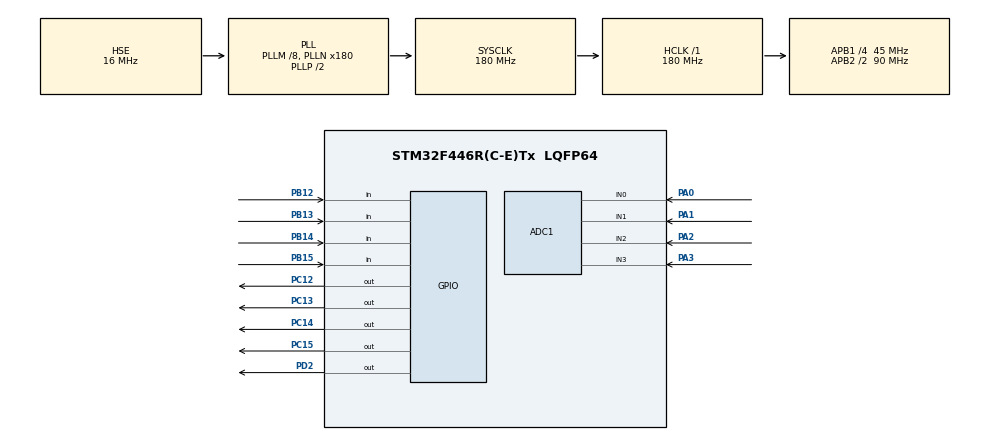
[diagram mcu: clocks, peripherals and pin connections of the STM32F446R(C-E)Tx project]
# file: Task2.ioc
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ADC1.Channel-1\#ChannelRegularConversion=ADC_CHANNEL_0
ADC1.Channel-2\#ChannelRegularConversion=ADC_CHANNEL_1
ADC1.Channel-3\#ChannelRegularConversion=ADC_CHANNEL_2
ADC1.Channel-4\#ChannelRegularConversion=ADC_CHANNEL_3
ADC1.DMAContinuousRequests=ENABLE
ADC1.NbrOfConversion=4
ADC1.NbrOfConversionFlag=1
ADC1.Rank-1\#ChannelRegularConversion=1
ADC1.Rank-2\#ChannelRegularConversion=2
ADC1.Rank-3\#ChannelRegularConversion=3
ADC1.Rank-4\#ChannelRegularConversion=4
ADC1.SamplingTime-1\#ChannelRegularConversion=ADC_SAMPLETIME_15CYCLES
ADC1.SamplingTime-2\#ChannelRegularConversion=ADC_SAMPLETIME_15CYCLES
ADC1.SamplingTime-3\#ChannelRegularConversion=ADC_SAMPLETIME_15CYCLES
ADC1.SamplingTime-4\#ChannelRegularConversion=ADC_SAMPLETIME_15CYCLES
ADC1.ScanConvMode=ENABLE
ADC1.master=1
Dma.ADC1.0.Direction=DMA_PERIPH_TO_MEMORY
Dma.ADC1.0.FIFOMode=DMA_FIFOMODE_DISABLE
Dma.ADC1.0.Instance=DMA2_Stream0
Dma.ADC1.0.MemDataAlignment=DMA_MDATAALIGN_WORD
Dma.ADC1.0.MemInc=DMA_MINC_ENABLE
Dma.ADC1.0.Mode=DMA_CIRCULAR
Dma.ADC1.0.PeriphDataAlignment=DMA_PDATAALIGN_WORD
Dma.ADC1.0.PeriphInc=DMA_PINC_DISABLE
Dma.ADC1.0.Priority=DMA_PRIORITY_LOW
Dma.Request0=ADC1
Mcu.Family=STM32F4
Mcu.Name=STM32F446R(C-E)Tx
Mcu.Package=LQFP64
NVIC.ADC_IRQn=true\:0\:0\:false\:false\:true\:true\:true\:true
NVIC.DMA2_Stream0_IRQn=true\:0\:0\:false\:false\:true\:false\:true\:true
NVIC.PriorityGroup=NVIC_PRIORITYGROUP_4
NVIC.TIM6_DAC_IRQn=true\:0\:0\:false\:false\:true\:true\:true\:true
NVIC.TIM8_UP_TIM13_IRQn=true\:0\:0\:false\:false\:true\:true\:true\:true
PA0-WKUP.Signal=ADCx_IN0
PA1.Signal=ADCx_IN1
PA13.Mode=Serial_Wire
PA13.Signal=SYS_JTMS-SWDIO
PA14.Mode=Serial_Wire
PA14.Signal=SYS_JTCK-SWCLK
PA2.Signal=ADCx_IN2
PA3.Signal=ADCx_IN3
PB12.Signal=GPIO_Input
PB13.Signal=GPIO_Input
PB14.Signal=GPIO_Input
PB15.Signal=GPIO_Input
PC12.Signal=GPIO_Output
PC13.Signal=GPIO_Output
PC14-OSC32_IN.Signal=GPIO_Output
PC15-OSC32_OUT.Signal=GPIO_Output
PD2.Signal=GPIO_Output
PH0-OSC_IN.Mode=HSE-External-Oscillator
PH0-OSC_IN.Signal=RCC_OSC_IN
PH1-OSC_OUT.Mode=HSE-External-Oscillator
PH1-OSC_OUT.Signal=RCC_OSC_OUT
ProjectManager.HeapSize=0x200
ProjectManager.StackSize=0x400
ProjectManager.TargetToolchain=STM32CubeIDE
RCC.AHBFreq_Value=180000000
RCC.APB1CLKDivider=RCC_HCLK_DIV4
RCC.APB1Freq_Value=45000000
RCC.APB1TimFreq_Value=90000000
RCC.APB2CLKDivider=RCC_HCLK_DIV2
RCC.APB2Freq_Value=90000000
RCC.APB2TimFreq_Value=180000000
RCC.CortexFreq_Value=180000000
RCC.HCLKFreq_Value=180000000
RCC.HSE_VALUE=16000000
RCC.PLLM=8
RCC.PLLN=180
RCC.PLLSourceVirtual=RCC_PLLSOURCE_HSE
RCC.SYSCLKFreq_VALUE=180000000
RCC.SYSCLKSource=RCC_SYSCLKSOURCE_PLLCLK
RCC.USBFreq_Value=180000000
RCC.VCOOutputFreq_Value=360000000
SH.ADCx_IN0.0=ADC1_IN0,IN0
SH.ADCx_IN1.0=ADC1_IN1,IN1
SH.ADCx_IN2.0=ADC1_IN2,IN2
SH.ADCx_IN3.0=ADC1_IN3,IN3
TIM6.Period=100-1
TIM6.Prescaler=90-1
TIM8.Period=10000-1
TIM8.Prescaler=180-1
TIM8.TIM_MasterOutputTrigger=TIM_TRGO_UPDATE
VP_TIM6_VS_ClockSourceINT.Mode=Enable_Timer
VP_TIM8_VS_ClockSourceINT.Mode=Internal
board=custom

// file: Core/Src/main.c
/* USER CODE BEGIN Header */
/**
  ******************************************************************************
  * @file           : main.c
  * @brief          : Main program body
  ******************************************************************************
  * @attention
  *
  * Copyright (c) 2024 STMicroelectronics.
  * All rights reserved.
  *
  * This software is licensed under terms that can be found in the LICENSE file
  * in the root directory of this software component.
  * If no LICENSE file comes with this software, it is provided AS-IS.
  *
  ******************************************************************************
  */
/* USER CODE END Header */
#include "main.h"
#include "adc.h"
#include "dma.h"
#include "tim.h"
#include "gpio.h"

void SystemClock_Config(void);

int main(void)
{

  /* MCU Configuration--------------------------------------------------------*/

  /* Reset of all peripherals, Initializes the Flash interface and the Systick. */
  HAL_Init();

  /* Configure the system clock */
  SystemClock_Config();

  /* Initialize all configured peripherals */
  MX_GPIO_Init();
  MX_DMA_Init();
  MX_TIM8_Init();
  MX_ADC1_Init();
  MX_TIM6_Init();
  /* USER CODE BEGIN 2 */

  /* Turn Off All of LED*/
  HAL_GPIO_WritePin(GPIOC, GPIO_PIN_12, 1);
  HAL_GPIO_WritePin(GPIOC, GPIO_PIN_13, 1);
  HAL_GPIO_WritePin(GPIOC, GPIO_PIN_14, 1);
  HAL_GPIO_WritePin(GPIOC, GPIO_PIN_15, 1);

  /* USER CODE END 2 */

  /* Infinite loop */
  while (1)
  {

    /* USER CODE BEGIN 3 */
	  /* Turn On LED */
	  if(!(HAL_GPIO_ReadPin(GPIOB, GPIO_PIN_12))){
		  HAL_GPIO_WritePin(GPIOC, GPIO_PIN_12, 0);
	  }else{
		  HAL_GPIO_WritePin(GPIOC, GPIO_PIN_12, 1);
	  }

	  if(!(HAL_GPIO_ReadPin(GPIOB, GPIO_PIN_13))){
		  HAL_GPIO_WritePin(GPIOC, GPIO_PIN_13, 0);
	  }else{
		  HAL_GPIO_WritePin(GPIOC, GPIO_PIN_13, 1);
	  }

	  if(!(HAL_GPIO_ReadPin(GPIOB, GPIO_PIN_14))){
		  HAL_GPIO_WritePin(GPIOC, GPIO_PIN_14, 0);
	  }else{
		  HAL_GPIO_WritePin(GPIOC, GPIO_PIN_14, 1);
	  }

	  if(!(HAL_GPIO_ReadPin(GPIOB, GPIO_PIN_15))){
		  HAL_GPIO_WritePin(GPIOC, GPIO_PIN_15, 0);
	  }else{
		  HAL_GPIO_WritePin(GPIOC, GPIO_PIN_15, 1);
	  }

  }
  /* USER CODE END 3 */
}

void SystemClock_Config(void)
{
  RCC_OscInitTypeDef RCC_OscInitStruct = {0};
  RCC_ClkInitTypeDef RCC_ClkInitStruct = {0};

  /** Configure the main internal regulator output voltage
  */
  __HAL_RCC_PWR_CLK_ENABLE();
  __HAL_PWR_VOLTAGESCALING_CONFIG(PWR_REGULATOR_VOLTAGE_SCALE1);

  /** Initializes the RCC Oscillators according to the specified parameters
  * in the RCC_OscInitTypeDef structure.
  */
  RCC_OscInitStruct.OscillatorType = RCC_OSCILLATORTYPE_HSE;
  RCC_OscInitStruct.HSEState = RCC_HSE_ON;
  RCC_OscInitStruct.PLL.PLLState = RCC_PLL_ON;
  RCC_OscInitStruct.PLL.PLLSource = RCC_PLLSOURCE_HSE;
  RCC_OscInitStruct.PLL.PLLM = 8;
  RCC_OscInitStruct.PLL.PLLN = 180;
  RCC_OscInitStruct.PLL.PLLP = RCC_PLLP_DIV2;
  RCC_OscInitStruct.PLL.PLLQ = 2;
  RCC_OscInitStruct.PLL.PLLR = 2;
  if (HAL_RCC_OscConfig(&RCC_OscInitStruct) != HAL_OK)
  {
    Error_Handler();
  }

  /** Activate the Over-Drive mode
  */
  if (HAL_PWREx_EnableOverDrive() != HAL_OK)
  {
    Error_Handler();
  }

  /** Initializes the CPU, AHB and APB buses clocks
  */
  RCC_ClkInitStruct.ClockType = RCC_CLOCKTYPE_HCLK|RCC_CLOCKTYPE_SYSCLK
                              |RCC_CLOCKTYPE_PCLK1|RCC_CLOCKTYPE_PCLK2;
  RCC_ClkInitStruct.SYSCLKSource = RCC_SYSCLKSOURCE_PLLCLK;
  RCC_ClkInitStruct.AHBCLKDivider = RCC_SYSCLK_DIV1;
  RCC_ClkInitStruct.APB1CLKDivider = RCC_HCLK_DIV4;
  RCC_ClkInitStruct.APB2CLKDivider = RCC_HCLK_DIV2;

  if (HAL_RCC_ClockConfig(&RCC_ClkInitStruct, FLASH_LATENCY_5) != HAL_OK)
  {
    Error_Handler();
  }
}

void Error_Handler(void)
{
  __disable_irq();
  while (1)
  {
  }
}
